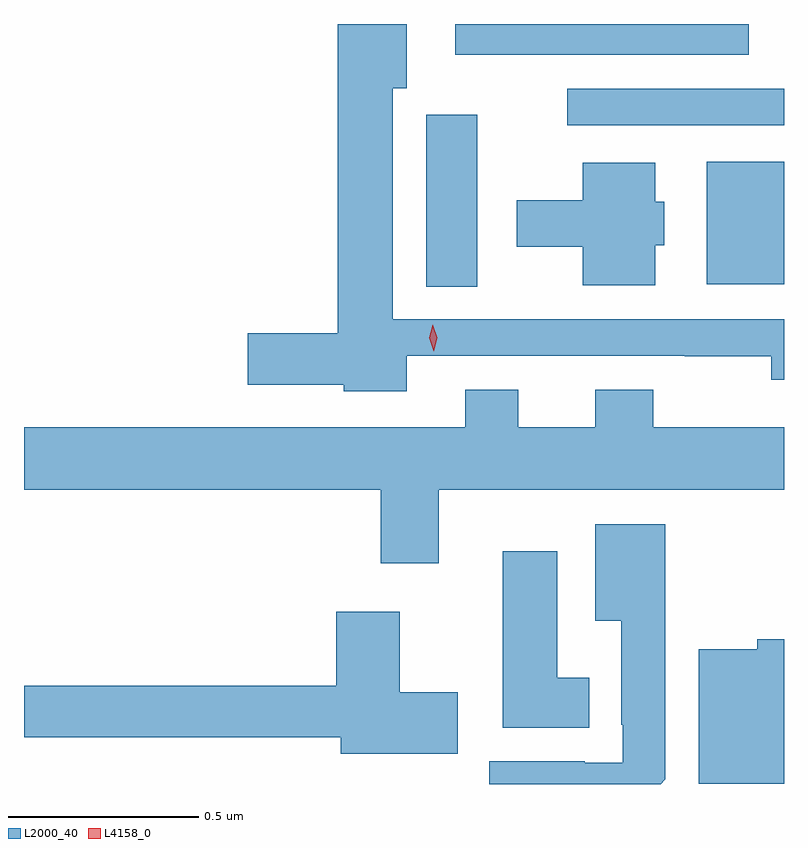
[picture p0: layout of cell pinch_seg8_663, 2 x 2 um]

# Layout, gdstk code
import gdstk
lib = gdstk.Library(unit=1e-6, precision=1e-09)
def R(c, l, rs):  # rectangles x0, y0, x1, y1
    for r in rs: c.add(gdstk.rectangle(r[:2], r[2:], *l))
def P(c, l, *ps):  # polygons
    for p in ps: c.add(gdstk.Polygon(p, *l))
L2000_40 = (2000, 40)
L4158_0 = (4158, 0)

pinch_seg8_663 = lib.new_cell('pinch_seg8_663')
R(pinch_seg8_663, L2000_40, [(338.744,1117.033,338.878,1117.486), (339.482,1117.04,339.685,1117.363), (339.114,1117.458,339.685,1117.554), (338.82,1117.644,339.592,1117.725)])
P(pinch_seg8_663, L2000_40, [(338.692,1116.852),(339.424,1116.852),(339.424,1116.851),(339.652,1116.851),(339.652,1116.789),(339.685,1116.789),(339.685,1116.948),(338.656,1116.948),(338.656,1117.556),(338.692,1117.556),(338.692,1117.725),(338.51,1117.725),(338.51,1116.911),(338.274,1116.911),(338.274,1116.776),(338.526,1116.776),(338.526,1116.758),(338.692,1116.758)],
  [(339.346,1117.143),(339.37,1117.143),(339.37,1117.257),(339.346,1117.257),(339.346,1117.36),(339.155,1117.36),(339.155,1117.261),(338.982,1117.261),(338.982,1117.139),(339.155,1117.139),(339.155,1117.037),(339.346,1117.037)],
  [(338.776,1116.5),(339.685,1116.5),(339.685,1116.664),(339.341,1116.664),(339.341,1116.763),(339.188,1116.763),(339.188,1116.664),(338.986,1116.664),(338.986,1116.763),(338.846,1116.763),(338.846,1116.664),(337.685,1116.664),(337.685,1116.5),(338.624,1116.5),(338.624,1116.306),(338.776,1116.306)],
  [(339.373,1115.737),(339.373,1116.409),(339.188,1116.409),(339.188,1116.155),(339.257,1116.155),(339.257,1115.881),(339.261,1115.881),(339.261,1115.781),(339.161,1115.781),(339.161,1115.785),(338.909,1115.785),(338.909,1115.725),(339.361,1115.725)],
  [(339.172,1116.004),(339.088,1116.004),(339.088,1116.337),(338.945,1116.337),(338.945,1115.873),(339.172,1115.873)],
  [(338.827,1115.967),(338.674,1115.967),(338.674,1116.178),(338.507,1116.178),(338.507,1115.984),(337.685,1115.984),(337.685,1115.848),(338.519,1115.848),(338.519,1115.804),(338.827,1115.804)],
  [(339.685,1116.106),(339.615,1116.106),(339.615,1116.079),(339.461,1116.079),(339.461,1115.726),(339.685,1115.726)])
P(pinch_seg8_663, L4158_0, [(338.763,1116.864),(338.763,1116.864),(338.752,1116.899),(338.76,1116.934),(338.761,1116.934),(338.761,1116.934),(338.772,1116.899),(338.763,1116.864)])

lib.write_gds('pinch_seg8_663.gds')
